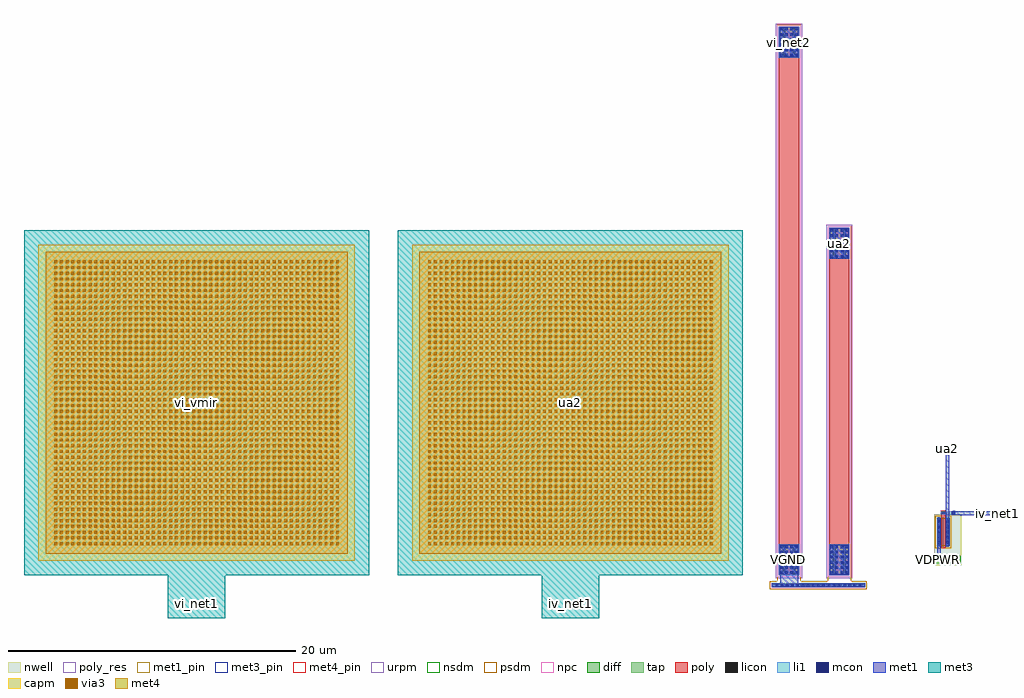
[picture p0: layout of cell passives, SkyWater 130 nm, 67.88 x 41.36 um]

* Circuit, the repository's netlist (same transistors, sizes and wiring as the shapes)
* NGSPICE file created from passives.ext - technology: sky130A

.subckt passives vi_vmir vi_net1 VGND vi_net2 x1_i_v_out VDPWR ua2 iv_net1 ua2_uq0
+ ua2_uq1 iv_net1_uq0
X0 ua2_uq1 x1_i_v_out VGND sky130_fd_pr__res_xhigh_po_1p41 l=20
X1 ua2_uq0 iv_net1_uq0 sky130_fd_pr__cap_mim_m3_1 l=22 w=22
X2 vi_net2 VGND VGND sky130_fd_pr__res_xhigh_po_1p41 l=34
X3 ua2 iv_net1 VDPWR VDPWR sky130_fd_pr__pfet_01v8 ad=0.58 pd=4.58 as=0.58 ps=4.58 w=2 l=0.3
X4 vi_vmir vi_net1 sky130_fd_pr__cap_mim_m3_1 l=22 w=22
.ends

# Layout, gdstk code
import gdstk
lib = gdstk.Library(unit=1e-6, precision=1e-09)
def R(c, l, rs):  # rectangles x0, y0, x1, y1
    for r in rs: c.add(gdstk.rectangle(r[:2], r[2:], *l))
def A(c, l, x, y, w, h, nx, ny, dx, dy):  # array of equal rectangles
    R(c, l, [(x+i*dx, y+j*dy, x+i*dx+w, y+j*dy+h) for i in range(nx) for j in range(ny)])
nwell = (64, 20)
diff = (65, 20)
tap = (65, 44)
poly_res = (66, 13)
poly = (66, 20)
licon = (66, 44)
li1 = (67, 20)
mcon = (67, 44)
met1_pin = (68, 16)
met1 = (68, 20)
met3_pin = (70, 16)
met3 = (70, 20)
via3 = (70, 44)
met4_pin = (71, 16)
met4 = (71, 20)
urpm = (79, 20)
capm = (89, 44)
nsdm = (93, 44)
psdm = (94, 20)
npc = (95, 20)

passives = lib.new_cell('passives')
R(passives, nwell, [(63.3,0.7,65.18,4.25)])
R(passives, diff, [(63.5,2,64.38,4)])
R(passives, tap, [(52,-0.845,58.5,-0.555), (63.5,0.955,64.98,1.245)])
R(passives, poly_res, [(52.5,2.08,53.91,36.08), (56,2.08,57.41,22.08)])
R(passives, poly, [(52.5,0,53.91,38.16), (56,0,57.41,24.16), (63.79,1.87,64.09,4.485)])
A(passives, licon, 52.275, -0.785, 0.17, 0.17, 18, 1, 0.34, 0)
A(passives, licon, 63.645, 1.015, 0.17, 0.17, 4, 1, 0.34, 0)
A(passives, licon, 63.56, 2.065, 0.17, 0.17, 1, 6, 0, 0.34)
A(passives, licon, 64.15, 2.065, 0.17, 0.17, 1, 6, 0, 0.34)
R(passives, licon, [(52.755,0.08,52.945,2.08), (53.465,0.08,53.655,2.08), (56.255,0.08,56.445,2.08), (56.965,0.08,57.155,2.08), (63.855,4.235,64.025,4.405), (56.255,22.08,56.445,24.08), (56.965,22.08,57.155,24.08), (52.755,36.08,52.945,38.08), (53.465,36.08,53.655,38.08)])
R(passives, li1, [(52,-0.785,58.5,-0.615), (52.5,0,53.91,2.16), (56,0,57.41,2.16), (63.5,1.015,64.98,1.185), (63.56,1.98,63.73,4.02), (64.15,1.98,64.32,4.02), (64.595,4.155,64.765,4.235), (63.775,4.235,64.765,4.405), (64.595,4.405,64.765,4.485), (56,22,57.41,24.16), (52.5,36,53.91,38.16)])
A(passives, mcon, 52.285, -0.785, 0.17, 0.17, 17, 1, 0.36, 0)
A(passives, mcon, 52.58, 0.09, 0.17, 0.17, 4, 6, 0.36, 0.36)
A(passives, mcon, 56.08, 0.09, 0.17, 0.17, 4, 6, 0.36, 0.36)
A(passives, mcon, 63.795, 1.015, 0.17, 0.17, 3, 1, 0.36, 0)
A(passives, mcon, 63.56, 2.195, 0.17, 0.17, 1, 5, 0, 0.36)
A(passives, mcon, 64.15, 2.195, 0.17, 0.17, 1, 5, 0, 0.36)
A(passives, mcon, 56.08, 22.09, 0.17, 0.17, 4, 6, 0.36, 0.36)
A(passives, mcon, 52.58, 36.09, 0.17, 0.17, 4, 6, 0.36, 0.36)
R(passives, mcon, [(64.595,4.235,64.765,4.405)])
R(passives, met1_pin, [(53.055,0.93,53.355,1.23), (56.555,0.93,56.855,1.23), (63.5,0.955,63.62,1.25), (67.53,4.175,67.83,4.465), (64.105,8.65,64.365,8.95), (56.555,22.93,56.855,23.23), (53.055,36.93,53.355,37.23)])
R(passives, met1, [(52,-0.845,58.5,-0.555), (52.6,-0.555,53.85,0.025), (52.55,0.025,53.86,2.13), (56.05,0.025,57.36,2.13), (63.5,0.955,64.98,1.245), (63.515,1.245,63.775,4), (64.105,2,64.365,9), (64.535,4.175,67.88,4.465), (56.05,22.025,57.36,24.13), (52.55,36.025,53.86,38.13)])
R(passives, met3_pin, [(11.85,-2.15,12.15,-1.85), (37.85,-2.15,38.15,-1.85)])
R(passives, met3, [(10,-3,14,0), (36,-3,40,0), (0,0,24,24), (26,0,50,24)])
A(passives, via3, 2.1, 2.1, 0.2, 0.2, 50, 50, 0.4, 0.4)
A(passives, via3, 28.1, 2.1, 0.2, 0.2, 50, 50, 0.4, 0.4)
R(passives, met4_pin, [(11.85,11.85,12.15,12.15), (37.85,11.85,38.15,12.15)])
R(passives, met4, [(1.5,1.5,22.5,22.5), (27.5,1.5,48.5,22.5)])
R(passives, urpm, [(52.3,-0.2,54.11,38.36), (55.8,-0.2,57.61,24.36)])
R(passives, capm, [(1,1,23,23), (27,1,49,23)])
R(passives, nsdm, [(63.375,0.83,65.105,1.37)])
R(passives, psdm, [(51.875,-0.97,58.625,-0.43), (52.39,-0.43,54.02,38.27), (55.89,-0.43,57.52,24.27), (63.375,1.875,64.505,4.125)])
R(passives, npc, [(52.405,-0.095,54.005,38.255), (55.905,-0.095,57.505,24.255), (63.755,4.135,64.125,4.505)])
passives.add(gdstk.Label('vi_vmir', (12,12), layer=71, texttype=5))
passives.add(gdstk.Label('vi_net1', (12,-2), layer=70, texttype=5))
passives.add(gdstk.Label('ua2', (38,12), layer=71, texttype=5))
passives.add(gdstk.Label('iv_net1', (38,-2), layer=70, texttype=5))
passives.add(gdstk.Label('VGND', (53.205,1.08), layer=68, texttype=5))
passives.add(gdstk.Label('vi_net2', (53.205,37.08), layer=68, texttype=5))
passives.add(gdstk.Label('x1_i_v_out', (56.705,1.08), layer=68, texttype=5))
passives.add(gdstk.Label('ua2', (56.705,23.08), layer=68, texttype=5))
passives.add(gdstk.Label('VDPWR', (63.56,1.102), layer=68, texttype=5))
passives.add(gdstk.Label('ua2', (64.235,8.8), layer=68, texttype=5))
passives.add(gdstk.Label('iv_net1', (67.68,4.32), layer=68, texttype=5))

lib.write_gds('passives.gds')
